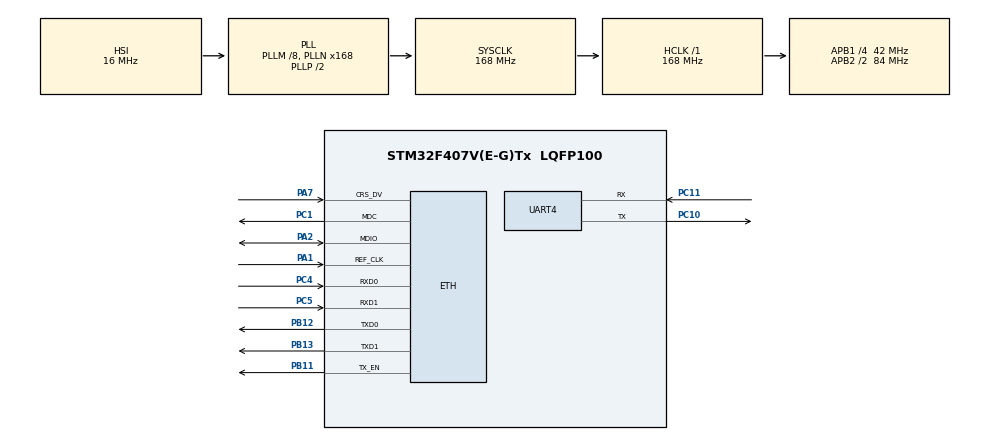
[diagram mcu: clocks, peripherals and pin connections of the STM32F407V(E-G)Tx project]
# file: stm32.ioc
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ETH.MediaInterface=HAL_ETH_RMII_MODE
LWIP.BSP.number=1
LWIP.GATEWAY_ADDRESS=192.168.000.001
LWIP.IP_ADDRESS=192.168.000.010
LWIP.LWIP_DHCP=0
LWIP.NETMASK_ADDRESS=255.255.255.000
LWIP.Version=v2.1.2_Cube
LWIP0.BSP.STBoard=false
LWIP0.BSP.api=BSP_COMPONENT_DRIVER
LWIP0.BSP.component=LAN8742
LWIP0.BSP.instance=LAN8742
LWIP0.BSP.name=Driver_PHY
LWIP0.BSP.semaphore=S_LAN8742
LWIP0.BSP.solution=LAN8742
Mcu.Family=STM32F4
Mcu.Name=STM32F407V(E-G)Tx
Mcu.Package=LQFP100
NVIC.PriorityGroup=NVIC_PRIORITYGROUP_4
NVIC.UART4_IRQn=true\:0\:0\:false\:false\:true\:true\:true\:true
PA1.Mode=RMII
PA1.Signal=ETH_REF_CLK
PA2.Mode=RMII
PA2.Signal=ETH_MDIO
PA7.Mode=RMII
PA7.Signal=ETH_CRS_DV
PB11.Mode=RMII
PB11.Signal=ETH_TX_EN
PB12.Mode=RMII
PB12.Signal=ETH_TXD0
PB13.Mode=RMII
PB13.Signal=ETH_TXD1
PC1.Mode=RMII
PC1.Signal=ETH_MDC
PC10.Mode=Asynchronous
PC10.Signal=UART4_TX
PC11.Mode=Asynchronous
PC11.Signal=UART4_RX
PC4.Mode=RMII
PC4.Signal=ETH_RXD0
PC5.Mode=RMII
PC5.Signal=ETH_RXD1
ProjectManager.HeapSize=0x200
ProjectManager.StackSize=0x400
ProjectManager.TargetToolchain=STM32CubeIDE
RCC.48MHZClocksFreq_Value=84000000
RCC.AHBFreq_Value=168000000
RCC.APB1CLKDivider=RCC_HCLK_DIV4
RCC.APB1Freq_Value=42000000
RCC.APB1TimFreq_Value=84000000
RCC.APB2CLKDivider=RCC_HCLK_DIV2
RCC.APB2Freq_Value=84000000
RCC.APB2TimFreq_Value=168000000
RCC.CortexFreq_Value=168000000
RCC.HCLKFreq_Value=168000000
RCC.HSE_VALUE=25000000
RCC.HSI_VALUE=16000000
RCC.LSE_VALUE=32768
RCC.PLLM=8
RCC.PLLN=168
RCC.SYSCLKFreq_VALUE=168000000
RCC.SYSCLKSource=RCC_SYSCLKSOURCE_PLLCLK
RCC.VCOOutputFreq_Value=336000000
RTC.Date=3
RTC.Hours=15
RTC.Minutes=17
RTC.Month=RTC_MONTH_SEPTEMBER
RTC.WeekDay=RTC_WEEKDAY_TUESDAY
RTC.Year=24
UART4.VirtualMode=Asynchronous
VP_LWIP_VS_Enabled.Mode=Enabled
VP_RTC_VS_RTC_Activate.Mode=RTC_Enabled
VP_RTC_VS_RTC_Calendar.Mode=RTC_Calendar
board=custom

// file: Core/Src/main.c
/* USER CODE BEGIN Header */
/**
  ******************************************************************************
  * @file           : main.c
  * @brief          : Main program body
  ******************************************************************************
  * @attention
  *
  * Copyright (c) 2024 STMicroelectronics.
  * All rights reserved.
  *
  * This software is licensed under terms that can be found in the LICENSE file
  * in the root directory of this software component.
  * If no LICENSE file comes with this software, it is provided AS-IS.
  *
  ******************************************************************************
  */
/* USER CODE END Header */
#include "main.h"
#include "lwip.h"

/* USER CODE BEGIN Includes */
#include "message.h"
#include "command_manager.h"
#include "common.h"
#include "tcp_server.h"
/* USER CODE END Includes */

RTC_HandleTypeDef hrtc;

UART_HandleTypeDef huart4;

/* USER CODE BEGIN PV */

static enum { HEADER, PAYLOAD } state = HEADER;

/* USER CODE END PV */

void SystemClock_Config(void);
static void MX_GPIO_Init(void);
static void MX_UART4_Init(void);
static void MX_RTC_Init(void);
/* USER CODE BEGIN PFP */
void HAL_UART_RxCpltCallback(UART_HandleTypeDef *huart);
/* USER CODE END PFP */

int main(void)
{
  /* USER CODE BEGIN 1 */

  initialize_function_map();
  /* USER CODE END 1 */

  /* MCU Configuration--------------------------------------------------------*/

  /* Reset of all peripherals, Initializes the Flash interface and the Systick. */
  HAL_Init();

  /* Configure the system clock */
  SystemClock_Config();

  /* Initialize all configured peripherals */
  MX_GPIO_Init();
  MX_UART4_Init();
  MX_LWIP_Init();
  MX_RTC_Init();
  /* USER CODE BEGIN 2 */

  HAL_UART_Receive_IT(&huart4, rx_buffer,2); //Receive the header!
  tcp_server_init();

  /* USER CODE END 2 */

  /* Infinite loop */
  /* USER CODE BEGIN WHILE */
  while (1)
  {
    MX_LWIP_Process();
    HAL_Delay(1); // Add a small delay to allow other interrupts to be serviced
//    HAL_UART_Receive(&huart4, rx_buffer, MAX_COM_BUFFER_SIZE, HAL_MAX_DELAY);
    /* USER CODE END WHILE */

  }
}

void SystemClock_Config(void)
{
  RCC_OscInitTypeDef RCC_OscInitStruct = {0};
  RCC_ClkInitTypeDef RCC_ClkInitStruct = {0};

  /** Configure the main internal regulator output voltage
  */
  __HAL_RCC_PWR_CLK_ENABLE();
  __HAL_PWR_VOLTAGESCALING_CONFIG(PWR_REGULATOR_VOLTAGE_SCALE1);

  /** Initializes the RCC Oscillators according to the specified parameters
  * in the RCC_OscInitTypeDef structure.
  */
  RCC_OscInitStruct.OscillatorType = RCC_OSCILLATORTYPE_HSI|RCC_OSCILLATORTYPE_LSI;
  RCC_OscInitStruct.HSIState = RCC_HSI_ON;
  RCC_OscInitStruct.HSICalibrationValue = RCC_HSICALIBRATION_DEFAULT;
  RCC_OscInitStruct.LSIState = RCC_LSI_ON;
  RCC_OscInitStruct.PLL.PLLState = RCC_PLL_ON;
  RCC_OscInitStruct.PLL.PLLSource = RCC_PLLSOURCE_HSI;
  RCC_OscInitStruct.PLL.PLLM = 8;
  RCC_OscInitStruct.PLL.PLLN = 168;
  RCC_OscInitStruct.PLL.PLLP = RCC_PLLP_DIV2;
  RCC_OscInitStruct.PLL.PLLQ = 4;
  if (HAL_RCC_OscConfig(&RCC_OscInitStruct) != HAL_OK)
  {
    Error_Handler();
  }

  /** Initializes the CPU, AHB and APB buses clocks
  */
  RCC_ClkInitStruct.ClockType = RCC_CLOCKTYPE_HCLK|RCC_CLOCKTYPE_SYSCLK
                              |RCC_CLOCKTYPE_PCLK1|RCC_CLOCKTYPE_PCLK2;
  RCC_ClkInitStruct.SYSCLKSource = RCC_SYSCLKSOURCE_PLLCLK;
  RCC_ClkInitStruct.AHBCLKDivider = RCC_SYSCLK_DIV1;
  RCC_ClkInitStruct.APB1CLKDivider = RCC_HCLK_DIV4;
  RCC_ClkInitStruct.APB2CLKDivider = RCC_HCLK_DIV2;

  if (HAL_RCC_ClockConfig(&RCC_ClkInitStruct, FLASH_LATENCY_5) != HAL_OK)
  {
    Error_Handler();
  }
}

static void MX_RTC_Init(void)
{

  RTC_TimeTypeDef sTime = {0};
  RTC_DateTypeDef sDate = {0};

  /** Initialize RTC Only
  */
  hrtc.Instance = RTC;
  hrtc.Init.HourFormat = RTC_HOURFORMAT_24;
  hrtc.Init.AsynchPrediv = 127;
  hrtc.Init.SynchPrediv = 255;
  hrtc.Init.OutPut = RTC_OUTPUT_DISABLE;
  hrtc.Init.OutPutPolarity = RTC_OUTPUT_POLARITY_HIGH;
  hrtc.Init.OutPutType = RTC_OUTPUT_TYPE_OPENDRAIN;
  if (HAL_RTC_Init(&hrtc) != HAL_OK)
  {
    Error_Handler();
  }

  /** Initialize RTC and set the Time and Date
  */
  sTime.Hours = 0x15;
  sTime.Minutes = 0x17;
  sTime.Seconds = 0x0;
  sTime.DayLightSaving = RTC_DAYLIGHTSAVING_NONE;
  sTime.StoreOperation = RTC_STOREOPERATION_RESET;
  if (HAL_RTC_SetTime(&hrtc, &sTime, RTC_FORMAT_BCD) != HAL_OK)
  {
    Error_Handler();
  }
  sDate.WeekDay = RTC_WEEKDAY_TUESDAY;
  sDate.Month = RTC_MONTH_SEPTEMBER;
  sDate.Date = 0x3;
  sDate.Year = 0x24;

  if (HAL_RTC_SetDate(&hrtc, &sDate, RTC_FORMAT_BCD) != HAL_OK)
  {
    Error_Handler();
  }

}

static void MX_UART4_Init(void)
{

  huart4.Instance = UART4;
  huart4.Init.BaudRate = 115200;
  huart4.Init.WordLength = UART_WORDLENGTH_8B;
  huart4.Init.StopBits = UART_STOPBITS_1;
  huart4.Init.Parity = UART_PARITY_NONE;
  huart4.Init.Mode = UART_MODE_TX_RX;
  huart4.Init.HwFlowCtl = UART_HWCONTROL_NONE;
  huart4.Init.OverSampling = UART_OVERSAMPLING_16;
  if (HAL_UART_Init(&huart4) != HAL_OK)
  {
    Error_Handler();
  }
  /* USER CODE BEGIN UART4_Init 2 */
  // Enable the UART interrupt in NVIC
  HAL_NVIC_SetPriority(UART4_IRQn, 0, 0);   // Higher priority for UART
  HAL_NVIC_EnableIRQ(UART4_IRQn);
  /* USER CODE END UART4_Init 2 */

}

static void MX_GPIO_Init(void)
{

  /* GPIO Ports Clock Enable */
  __HAL_RCC_GPIOC_CLK_ENABLE();
  __HAL_RCC_GPIOA_CLK_ENABLE();
  __HAL_RCC_GPIOB_CLK_ENABLE();

}

/* USER CODE BEGIN 4 */
void HAL_UART_RxCpltCallback(UART_HandleTypeDef *huart)
{
	  if (huart->Instance == UART4)
	  {
		  if (state == HEADER){
		  //handle_request(rx_buffer, tx_buffer);
		  uint8_t payload_size = rx_buffer[1];
		  // Restart UART reception but offset the buffer
		  HAL_UART_Receive_IT(&huart4,  &rx_buffer[2], payload_size);
		  state = PAYLOAD;
		  }
		  else{
			 handle_request(rx_buffer, tx_buffer);
			 HAL_UART_Transmit_IT(&huart4, tx_buffer, tx_buffer[1]+2);
			 state = HEADER;
			 HAL_UART_Receive_IT(&huart4, rx_buffer,2); //Receive the header!
		  }
	  }

}
/* USER CODE END 4 */

void Error_Handler(void)
{
  __disable_irq();
  while (1)
  {
  }
}
